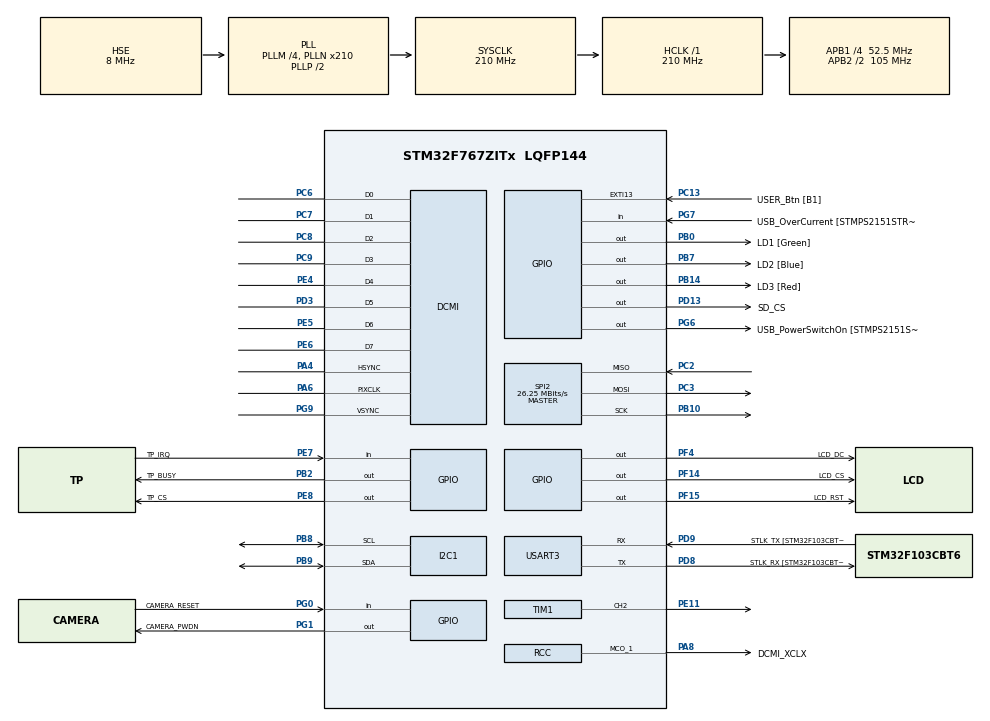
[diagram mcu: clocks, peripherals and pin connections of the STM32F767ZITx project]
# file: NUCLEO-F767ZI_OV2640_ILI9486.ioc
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DCMI.HSPolarity=DCMI_HSPOLARITY_LOW
DCMI.JPEGMode=DCMI_JPEG_DISABLE
DCMI.PCKPolarity=DCMI_PCKPOLARITY_RISING
DCMI.VSPolarity=DCMI_VSPOLARITY_LOW
Dma.DCMI.0.Direction=DMA_PERIPH_TO_MEMORY
Dma.DCMI.0.FIFOMode=DMA_FIFOMODE_ENABLE
Dma.DCMI.0.FIFOThreshold=DMA_FIFO_THRESHOLD_FULL
Dma.DCMI.0.Instance=DMA2_Stream1
Dma.DCMI.0.MemBurst=DMA_MBURST_SINGLE
Dma.DCMI.0.MemDataAlignment=DMA_MDATAALIGN_BYTE
Dma.DCMI.0.MemInc=DMA_MINC_ENABLE
Dma.DCMI.0.Mode=DMA_CIRCULAR
Dma.DCMI.0.PeriphBurst=DMA_PBURST_SINGLE
Dma.DCMI.0.PeriphDataAlignment=DMA_PDATAALIGN_WORD
Dma.DCMI.0.PeriphInc=DMA_PINC_DISABLE
Dma.DCMI.0.Priority=DMA_PRIORITY_VERY_HIGH
Dma.Request0=DCMI
Dma.Request1=USART3_TX
Dma.USART3_TX.1.Direction=DMA_MEMORY_TO_PERIPH
Dma.USART3_TX.1.FIFOMode=DMA_FIFOMODE_ENABLE
Dma.USART3_TX.1.FIFOThreshold=DMA_FIFO_THRESHOLD_FULL
Dma.USART3_TX.1.Instance=DMA1_Stream3
Dma.USART3_TX.1.MemBurst=DMA_MBURST_SINGLE
Dma.USART3_TX.1.MemDataAlignment=DMA_MDATAALIGN_BYTE
Dma.USART3_TX.1.MemInc=DMA_MINC_ENABLE
Dma.USART3_TX.1.Mode=DMA_NORMAL
Dma.USART3_TX.1.PeriphBurst=DMA_PBURST_SINGLE
Dma.USART3_TX.1.PeriphDataAlignment=DMA_PDATAALIGN_BYTE
Dma.USART3_TX.1.PeriphInc=DMA_PINC_DISABLE
Dma.USART3_TX.1.Priority=DMA_PRIORITY_VERY_HIGH
I2C1.Timing=0x1060669A
Mcu.Family=STM32F7
Mcu.Name=STM32F767ZITx
Mcu.Package=LQFP144
NVIC.DCMI_IRQn=true\:0\:0\:false\:false\:true\:true\:true\:true
NVIC.DMA1_Stream3_IRQn=true\:0\:0\:false\:false\:true\:false\:true\:true
NVIC.DMA2_Stream1_IRQn=true\:0\:0\:false\:false\:true\:false\:true\:true
NVIC.PriorityGroup=NVIC_PRIORITYGROUP_4
NVIC.USART3_IRQn=true\:0\:0\:false\:false\:true\:true\:true\:true
PA13.GPIO_Label=TMS
PA13.Mode=Serial_Wire
PA13.Signal=SYS_JTMS-SWDIO
PA14.GPIO_Label=TCK
PA14.Mode=Serial_Wire
PA14.Signal=SYS_JTCK-SWCLK
PA4.Mode=Slave_8_bits_External_Synchro
PA4.Signal=DCMI_HSYNC
PA6.Mode=Slave_8_bits_External_Synchro
PA6.Signal=DCMI_PIXCLK
PA8.GPIO_Label=DCMI_XCLX
PA8.GPIO_Speed=GPIO_SPEED_FREQ_VERY_HIGH
PA8.Mode=Clock-out-1
PA8.Signal=RCC_MCO_1
PB0.GPIO_Label=LD1 [Green]
PB0.Signal=GPIO_Output
PB10.Mode=Full_Duplex_Master
PB10.Signal=SPI2_SCK
PB14.GPIO_Label=LD3 [Red]
PB14.Signal=GPIO_Output
PB2.GPIO_Label=TP_BUSY
PB2.Signal=GPIO_Output
PB7.GPIO_Label=LD2 [Blue]
PB7.Signal=GPIO_Output
PB8.GPIO_Pu=GPIO_PULLUP
PB8.Mode=I2C
PB8.Signal=I2C1_SCL
PB9.GPIO_Pu=GPIO_PULLUP
PB9.Mode=I2C
PB9.Signal=I2C1_SDA
PC13.GPIO_Label=USER_Btn [B1]
PC13.Signal=GPXTI13
PC14/OSC32_IN.Mode=LSE-External-Oscillator
PC14/OSC32_IN.Signal=RCC_OSC32_IN
PC15/OSC32_OUT.Mode=LSE-External-Oscillator
PC15/OSC32_OUT.Signal=RCC_OSC32_OUT
PC2.Mode=Full_Duplex_Master
PC2.Signal=SPI2_MISO
PC3.Mode=Full_Duplex_Master
PC3.Signal=SPI2_MOSI
PC6.Mode=Slave_8_bits_External_Synchro
PC6.Signal=DCMI_D0
PC7.Mode=Slave_8_bits_External_Synchro
PC7.Signal=DCMI_D1
PC8.Mode=Slave_8_bits_External_Synchro
PC8.Signal=DCMI_D2
PC9.Mode=Slave_8_bits_External_Synchro
PC9.Signal=DCMI_D3
PD13.GPIO_Label=SD_CS
PD13.Signal=GPIO_Output
PD3.Mode=Slave_8_bits_External_Synchro
PD3.Signal=DCMI_D5
PD8.GPIO_Label=STLK_RX [STM32F103CBT6_PA3]
PD8.Mode=Asynchronous
PD8.Signal=USART3_TX
PD9.GPIO_Label=STLK_TX [STM32F103CBT6_PA2]
PD9.Mode=Asynchronous
PD9.Signal=USART3_RX
PE11.Signal=S_TIM1_CH2
PE4.Mode=Slave_8_bits_External_Synchro
PE4.Signal=DCMI_D4
PE5.Mode=Slave_8_bits_External_Synchro
PE5.Signal=DCMI_D6
PE6.Mode=Slave_8_bits_External_Synchro
PE6.Signal=DCMI_D7
PE7.GPIO_Label=TP_IRQ
PE7.Signal=GPIO_Input
PE8.GPIO_Label=TP_CS
PE8.Signal=GPIO_Output
PF14.GPIO_Label=LCD_CS
PF14.Signal=GPIO_Output
PF15.GPIO_Label=LCD_RST
PF15.Signal=GPIO_Output
PF4.GPIO_Label=LCD_DC
PF4.Signal=GPIO_Output
PG0.GPIO_Label=CAMERA_RESET
PG0.Signal=GPIO_Input
PG1.GPIO_Label=CAMERA_PWDN
PG1.Signal=GPIO_Output
PG6.GPIO_Label=USB_PowerSwitchOn [STMPS2151STR_EN]
PG6.Signal=GPIO_Output
PG7.GPIO_Label=USB_OverCurrent [STMPS2151STR_FAULT]
PG7.Signal=GPIO_Input
PG9.Mode=Slave_8_bits_External_Synchro
PG9.Signal=DCMI_VSYNC
PH0/OSC_IN.GPIO_Label=MCO [STM32F103CBT6_PA8]
PH0/OSC_IN.Mode=HSE-External-Clock-Source
PH0/OSC_IN.Signal=RCC_OSC_IN
PH1/OSC_OUT.Mode=HSE-External-Clock-Source
PH1/OSC_OUT.Signal=RCC_OSC_OUT
ProjectManager.HeapSize=0x200
ProjectManager.StackSize=0x400
ProjectManager.TargetToolchain=STM32CubeIDE
RCC.48MHZClocksFreq_Value=24000000
RCC.AHBFreq_Value=210000000
RCC.APB1CLKDivider=RCC_HCLK_DIV4
RCC.APB1Freq_Value=52500000
RCC.APB1TimFreq_Value=105000000
RCC.APB2CLKDivider=RCC_HCLK_DIV2
RCC.APB2Freq_Value=105000000
RCC.APB2TimFreq_Value=210000000
RCC.CortexFreq_Value=210000000
RCC.HCLKFreq_Value=210000000
RCC.HSE_VALUE=8000000
RCC.HSI_VALUE=16000000
RCC.PLLM=4
RCC.PLLMUL=RCC_PLL_MUL9
RCC.PLLN=210
RCC.PLLQ=9
RCC.PLLSourceVirtual=RCC_PLLSOURCE_HSE
RCC.PRESCALERUSB=RCC_USBCLKSOURCE_PLL_DIV1_5
RCC.SYSCLKFreq_VALUE=210000000
RCC.SYSCLKSource=RCC_SYSCLKSOURCE_PLLCLK
RCC.SYSCLKSourceVirtual=RCC_SYSCLKSOURCE_PLLCLK
RCC.USBFreq_Value=46666666.666666664
RCC.VCOOutputFreq_Value=420000000
SH.S_TIM1_CH2.0=TIM1_CH2,PWM Generation2 CH2
SPI2.CalculateBaudRate=26.25 MBits/s
SPI2.DataSize=SPI_DATASIZE_8BIT
SPI2.Direction=SPI_DIRECTION_2LINES
SPI2.Mode=SPI_MODE_MASTER
SPI2.NSSPMode=SPI_NSS_PULSE_DISABLE
SPI2.VirtualType=VM_MASTER
TIM1.Channel-PWM\ Generation2\ CH2=TIM_CHANNEL_2
TIM1.Period=2160-1
TIM1.Prescaler=1000-1
USART3.VirtualMode-Asynchronous=VM_ASYNC
board=NUCLEO-F767ZI

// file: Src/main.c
/* USER CODE BEGIN Header */
/**
 ******************************************************************************
 * @file           : main.c
 * @brief          : Main program body
 ******************************************************************************
 * @attention
 *
 * 	Created on: 23.02.2019
 *	Modified on:  23.02.2021
 *
 *	Copyright 2021 SimpleMethod
 *
 *Permission is hereby granted, free of charge, to any person
 *obtaining a copy of this software and associated documentation files
 *(the "Software"), to deal in the Software without restriction,
 *including without limitation the rights to use, copy, modify, merge,
 *publish, distribute, sublicense, and/or sell copies of the Software,
 *and to permit persons to whom the Software is furnished to do so,
 *subject to the following conditions:
 *
 *The above copyright notice and this permission notice shall be
 *included in all copies or substantial portions of the Software.
 *
 *THE SOFTWARE IS PROVIDED "AS IS", WITHOUT WARRANTY OF ANY KIND,
 *EXPRESS OR IMPLIED, INCLUDING BUT NOT LIMITED TO THE WARRANTIES OF
 *MERCHANTABILITY, FITNESS FOR A PARTICULAR PURPOSE AND
 *NONINFRINGEMENT. IN NO EVENT SHALL THE AUTHORS OR COPYRIGHT HOLDERS
 *BE LIABLE FOR ANY CLAIM, DAMAGES OR OTHER LIABILITY, WHETHER IN AN
 *ACTION OF CONTRACT, TORT OR OTHERWISE, ARISING FROM, OUT OF OR IN
 *CONNECTION WITH THE SOFTWARE OR THE USE OR OTHER DEALINGS IN THE
 *SOFTWARE.
 ******************************************************************************
 */
/* USER CODE END Header */
#include "main.h"
#include "dcmi.h"
#include "dma.h"
#include "gpio.h"
#include "i2c.h"
#include "spi.h"
#include "tim.h"
#include "usart.h"

/* USER CODE BEGIN Includes */
#include "ov2640.h"

#include "STM_registers.h"
// LCD
#include "LCD_Driver.h"
#include "LCD_GUI.h"

#include <stdarg.h>
#include <stdio.h>
#include <string.h>
/* USER CODE END Includes */

/* USER CODE BEGIN PD */

/**
 * Code debugging option
 */
//#define DEBUG
/* USER CODE END PD */

/* USER CODE BEGIN PV */

/**
 * Resolution selection
 */

//#define RES160X120
//#define RES320X240
//#define RES640X480
//#define RES800x600
//#define RES1024x768
//#define RES1280x960

//#define STM160x120
#define STM320x240
//#define STM480x272
//#define STM640x480

#ifdef STM160x120
unsigned imgRes                     = RES_STM160x120;
uint8_t frameBuffer[RES_STM160x120] = {0};
#endif

#ifdef STM320x240
unsigned imgRes                     = RES_STM320x240;
uint8_t frameBuffer[RES_STM320x240] = {0};
#endif

#ifdef STM480x272
unsigned imgRes                     = RES_STM480x272;
uint8_t frameBuffer[RES_STM480x272] = {0};
#endif

#ifdef STM640x480
unsigned imgRes                     = RES_STM640x480;
uint8_t frameBuffer[RES_STM640x480] = {0};
#endif

#ifdef RES160X120
enum imageResolution imgRes      = RES_160X120;
uint8_t frameBuffer[RES_160X120] = {0};
#endif

#ifdef RES320X240
enum imageResolution imgRes      = RES_320X240;
uint8_t frameBuffer[RES_320X240] = {0};
#endif

#ifdef RES640X480
enum imageResolution imgRes      = RES_640X480;
uint8_t frameBuffer[RES_640X480] = {0};
#endif

#ifdef RES800x600
enum imageResolution imgRes      = RES_800x600;
uint8_t frameBuffer[RES_800x600] = {0};
#endif

#ifdef RES1024x768
enum imageResolution imgRes       = RES_1024x768;
uint8_t frameBuffer[RES_1024x768] = {0};
#endif

#ifdef RES1280x960
enum imageResolution imgRes       = RES_1280x960;
uint8_t frameBuffer[RES_1280x960] = {0};
#endif

ushort mutex           = 0;
uint16_t bufferPointer = 0;
ushort headerFound     = 0;
/* USER CODE END PV */

void SystemClock_Config(void);

/* USER CODE BEGIN 0 */
void vprint(const char* fmt, va_list argp)
{
    char string[200];
    if (0 < vsprintf(string, fmt, argp)) // build string
    {
        HAL_UART_Transmit(&huart3, (uint8_t*)string, strlen(string),
                          0xffffff); // send message via UART
    }
}

void my_printf(const char* fmt, ...) // custom printf() function
{
    va_list argp;
    va_start(argp, fmt);
    vprint(fmt, argp);
    va_end(argp);
}

int32_t firstNonZeroValue(const uint8_t* array, int32_t size)
{
    for (int32_t i = 0; i < size; ++i)
    {
        if (array[i] != 0U)
            return i;
    }
    return -1;
}

/// Refreshes DCMI status information on display
void refreshStatusInfo()
{
    const char* text;
    switch (HAL_DCMI_GetState(&hdcmi))
    {
        case HAL_DCMI_STATE_RESET:
        {
            text = "DCMI not yet initialized or disabled.";
            break;
        }
        case HAL_DCMI_STATE_READY:
        {
            text = "DCMI initialized and ready for use.";
            break;
        }
        case HAL_DCMI_STATE_BUSY:
        {
            text = "DCMI internal processing is ongoing.";
            break;
        }
        case HAL_DCMI_STATE_TIMEOUT:
            text = "DCMI timeout state.";
            break;
        case HAL_DCMI_STATE_ERROR:
            text = "DCMI error state.";
            break;
        case HAL_DCMI_STATE_SUSPENDED:
            text = "DCMI suspend state.";
            break;
        default:
            text = "Unknown state.";
    }
    my_printf("HAL_DCMI_GetState: %s", text);
}

void HAL_DCMI_FrameEventCallback(DCMI_HandleTypeDef* hdcmi)
{
    // NOTE : This function Should not be modified, when the callback
    // is needed, the HAL_DCMI_FrameEventCallback could be implemented in
    // the user file

    // This is the user implementation.

    my_printf("End of shooting\r\n");
    // HAL_UART_DMAStop(&huart1);FF D8 FF E0
    my_printf("%x  %x  %x  %x\r\n", frameBuffer[0], frameBuffer[1],
              frameBuffer[2], frameBuffer[3]);

    int32_t index = firstNonZeroValue(frameBuffer, imgRes);
    if (index != -1)
        my_printf("Success\r\n");
}

void HAL_DCMI_ErrorCallback(DCMI_HandleTypeDef* hdcmi)
{
    // NOTE : This function Should not be modified, when the callback
    // is needed, the HAL_DCMI_ErrorCallback could be implemented in
    // the user file
    //
    // This is the user implementation.

    char* text = "Unknown error";
    switch (HAL_DCMI_GetError(hdcmi))
    {
        case HAL_DCMI_ERROR_NONE:
            text = "No error";
            break;
        case HAL_DCMI_ERROR_OVR:
            text = "Overrun error";
            break;
        case HAL_DCMI_ERROR_SYNC:
            text = "Synchronization error";
            break;
        case HAL_DCMI_ERROR_TIMEOUT:
            text = "Timeout error";
            break;
        case HAL_DCMI_ERROR_DMA:
            text = "DMA error";
        default:
            break;
    }

    my_printf("DCMI Error callback: %s.\r\n", text);
    refreshStatusInfo();
}

/* USER CODE END 0 */

int main(void)
{

    /* MCU
     * Configuration--------------------------------------------------------*/

    /* Reset of all peripherals, Initializes the Flash interface and the
     * Systick. */
    HAL_Init();

    /* Configure the system clock */
    SystemClock_Config();

    /* Initialize all configured peripherals */
    MX_GPIO_Init();
    MX_DMA_Init();
    MX_USART3_UART_Init();
    MX_DCMI_Init();
    MX_I2C1_Init();
    MX_SPI2_Init();
    MX_TIM1_Init();
    /* USER CODE BEGIN 2 */
    LCD_SCAN_DIR Lcd_ScanDir = SCAN_DIR_DFT; // SCAN_DIR_DFT = D2U_L2R
    LCD_Init(Lcd_ScanDir, 1000);
    GUI_Clear(WHITE);

    OV2640_Init(&hi2c1, &hdcmi);
    HAL_Delay(10);
    // OV2640_ResolutionOptions(imgRes);
    STM_OV2640_ResolutionConfiguration(imgRes);
    HAL_Delay(10);

    /**
     * Extra options
     */
    // OV2640_Brightness(Brightness_2);
    // HAL_Delay(10);
    // OV2640_Saturation(Saturation_2);
    // HAL_Delay(10);
    // OV2640_Contrast(Contrast_2);
    // HAL_Delay(10);
    // OV2640_SpecialEffect(Bluish);
    // HAL_Delay(10);
    // OV2640_LightMode(Auto);
    // HAL_Delay(10);
#ifdef DEBUG
    my_printf("Finishing configuration \r\n");
#endif

    /* USER CODE END 2 */

    /* Infinite loop */
    /* USER CODE BEGIN WHILE */

    /**
     * Pressing button (B1) on the Nucleo board will take a picture
     * and return JPEG via the serial port.
     */
    while (1)
    {
        if (HAL_GPIO_ReadPin(USER_Btn_GPIO_Port, USER_Btn_Pin))
        {
            if (mutex == 1)
            {
                my_printf("Button pushed. \r\n");
                memset(frameBuffer, 0, sizeof frameBuffer);
                OV2640_CaptureSnapshot((uint32_t)frameBuffer, imgRes);
                // while (1)
                {
                    if (headerFound == 0 &&
                        frameBuffer[bufferPointer] == 0xFF &&
                        frameBuffer[bufferPointer + 1] == 0xD8)
                    {
                        headerFound = 1;
#ifdef DEBUG
                        my_printf("Found header of JPEG file \r\n");
#endif
                    }
                    if (headerFound == 1 &&
                        frameBuffer[bufferPointer] == 0xFF &&
                        frameBuffer[bufferPointer + 1] == 0xD9)
                    {
                        bufferPointer = bufferPointer + 2;
#ifdef DEBUG
                        my_printf("Found EOF of JPEG file \r\n");
#endif
                        headerFound = 0;
                        break;
                    }

                    if (bufferPointer >= 65535)
                    {
                        break;
                    }
                    bufferPointer++;
                }
#ifdef DEBUG
                my_printf("Image size: %d bytes \r\n", bufferPointer);
#endif

                HAL_UART_Transmit_DMA(
                    &huart3, frameBuffer,
                    bufferPointer); // Use of DMA may be necessary for
                                    // larger data streams.
                GUI_DrawImage(LCD_X, LCD_Y, frameBuffer, imgRes);
                bufferPointer = 0;
                mutex         = 0;
                my_printf("Displayed \r\n");

                int i = firstNonZeroValue(frameBuffer, imgRes);
                if (i != -1)
                    my_printf("There is no zero value idx: %d\r\n", i);
                // dump bin value
                // C:\Users\norbe\STM32CubeIDE\workspace_1.8.0\Test_DCMI\out\dumpt.jpg
                // frameBuffer
            }
        }
        else
        {
            mutex = 1;
        }
        /* USER CODE END WHILE */

    }
}

void SystemClock_Config(void)
{
    RCC_OscInitTypeDef RCC_OscInitStruct = {0};
    RCC_ClkInitTypeDef RCC_ClkInitStruct = {0};

    /** Configure LSE Drive Capability
     */
    HAL_PWR_EnableBkUpAccess();

    /** Configure the main internal regulator output voltage
     */
    __HAL_RCC_PWR_CLK_ENABLE();
    __HAL_PWR_VOLTAGESCALING_CONFIG(PWR_REGULATOR_VOLTAGE_SCALE1);

    /** Initializes the RCC Oscillators according to the specified parameters
     * in the RCC_OscInitTypeDef structure.
     */
    RCC_OscInitStruct.OscillatorType =
        RCC_OSCILLATORTYPE_HSI | RCC_OSCILLATORTYPE_HSE;
    RCC_OscInitStruct.HSEState            = RCC_HSE_BYPASS;
    RCC_OscInitStruct.HSIState            = RCC_HSI_ON;
    RCC_OscInitStruct.HSICalibrationValue = RCC_HSICALIBRATION_DEFAULT;
    RCC_OscInitStruct.PLL.PLLState        = RCC_PLL_ON;
    RCC_OscInitStruct.PLL.PLLSource       = RCC_PLLSOURCE_HSE;
    RCC_OscInitStruct.PLL.PLLM            = 4;
    RCC_OscInitStruct.PLL.PLLN            = 210;
    RCC_OscInitStruct.PLL.PLLP            = RCC_PLLP_DIV2;
    RCC_OscInitStruct.PLL.PLLQ            = 9;
    RCC_OscInitStruct.PLL.PLLR            = 2;
    if (HAL_RCC_OscConfig(&RCC_OscInitStruct) != HAL_OK)
    {
        Error_Handler();
    }

    /** Activate the Over-Drive mode
     */
    if (HAL_PWREx_EnableOverDrive() != HAL_OK)
    {
        Error_Handler();
    }

    /** Initializes the CPU, AHB and APB buses clocks
     */
    RCC_ClkInitStruct.ClockType = RCC_CLOCKTYPE_HCLK | RCC_CLOCKTYPE_SYSCLK |
                                  RCC_CLOCKTYPE_PCLK1 | RCC_CLOCKTYPE_PCLK2;
    RCC_ClkInitStruct.SYSCLKSource   = RCC_SYSCLKSOURCE_PLLCLK;
    RCC_ClkInitStruct.AHBCLKDivider  = RCC_SYSCLK_DIV1;
    RCC_ClkInitStruct.APB1CLKDivider = RCC_HCLK_DIV4;
    RCC_ClkInitStruct.APB2CLKDivider = RCC_HCLK_DIV2;

    if (HAL_RCC_ClockConfig(&RCC_ClkInitStruct, FLASH_LATENCY_6) != HAL_OK)
    {
        Error_Handler();
    }
    HAL_RCC_MCOConfig(RCC_MCO1, RCC_MCO1SOURCE_HSI, RCC_MCODIV_1);
}

void Error_Handler(void)
{
    /* USER CODE BEGIN Error_Handler_Debug */
    /* User can add his own implementation to report the HAL error
     * return state */

    /* USER CODE END Error_Handler_Debug */
}

#ifdef USE_FULL_ASSERT
/**
 * @brief  Reports the name of the source file and the source line number
 *         where the assert_param error has occurred.
 * @param  file: pointer to the source file name
 * @param  line: assert_param error line source number
 * @retval None
 */
void assert_failed(uint8_t* file, uint32_t line)
{
    /* USER CODE BEGIN 6 */
    /* User can add his own implementation to report the file name and
     line number,
     tex: printf("Wrong parameters value: file %s on line %d\r\n",
     file, line) */
    /* USER CODE END 6 */
}
#endif /* USE_FULL_ASSERT */
